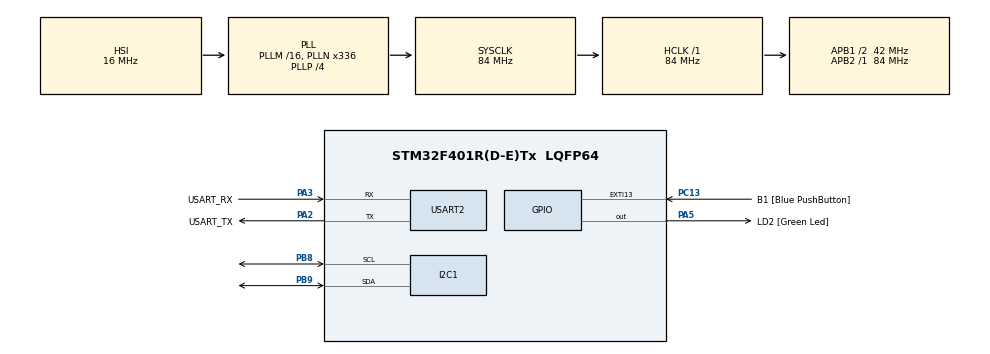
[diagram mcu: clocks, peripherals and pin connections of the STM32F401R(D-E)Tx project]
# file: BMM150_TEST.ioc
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Mcu.Family=STM32F4
Mcu.Name=STM32F401R(D-E)Tx
Mcu.Package=LQFP64
NVIC.PriorityGroup=NVIC_PRIORITYGROUP_4
PA13.GPIO_Label=TMS
PA13.Mode=Trace_Asynchronous_SW
PA13.Signal=SYS_JTMS-SWDIO
PA14.GPIO_Label=TCK
PA14.Mode=Trace_Asynchronous_SW
PA14.Signal=SYS_JTCK-SWCLK
PA2.GPIO_Label=USART_TX
PA2.GPIO_Mode=GPIO_MODE_AF_PP
PA2.GPIO_PuPd=GPIO_NOPULL
PA2.GPIO_Speed=GPIO_SPEED_FREQ_LOW
PA2.Mode=Asynchronous
PA2.Signal=USART2_TX
PA3.GPIO_Label=USART_RX
PA3.GPIO_Mode=GPIO_MODE_AF_PP
PA3.GPIO_PuPd=GPIO_NOPULL
PA3.GPIO_Speed=GPIO_SPEED_FREQ_LOW
PA3.Mode=Asynchronous
PA3.Signal=USART2_RX
PA5.GPIO_Label=LD2 [Green Led]
PA5.GPIO_Mode=GPIO_MODE_OUTPUT_PP
PA5.GPIO_PuPd=GPIO_NOPULL
PA5.GPIO_Speed=GPIO_SPEED_FREQ_LOW
PA5.Signal=GPIO_Output
PB3.GPIO_Label=SWO
PB3.Mode=Trace_Asynchronous_SW
PB3.Signal=SYS_JTDO-SWO
PB8.Mode=I2C
PB8.Signal=I2C1_SCL
PB9.Mode=I2C
PB9.Signal=I2C1_SDA
PC13-ANTI_TAMP.GPIO_Label=B1 [Blue PushButton]
PC13-ANTI_TAMP.GPIO_ModeDefaultEXTI=GPIO_MODE_IT_FALLING
PC13-ANTI_TAMP.GPIO_PuPd=GPIO_NOPULL
PC13-ANTI_TAMP.Signal=GPXTI13
PC14-OSC32_IN.Mode=LSE-External-Oscillator
PC14-OSC32_IN.Signal=RCC_OSC32_IN
PC15-OSC32_OUT.Mode=LSE-External-Oscillator
PC15-OSC32_OUT.Signal=RCC_OSC32_OUT
PH0\ -\ OSC_IN.Mode=HSE-External-Clock-Source
PH0\ -\ OSC_IN.Signal=RCC_OSC_IN
PH1\ -\ OSC_OUT.Mode=HSE-External-Clock-Source
PH1\ -\ OSC_OUT.Signal=RCC_OSC_OUT
ProjectManager.HeapSize=0x200
ProjectManager.StackSize=0x400
ProjectManager.TargetToolchain=STM32CubeIDE
RCC.48MHZClocksFreq_Value=48000000
RCC.AHBFreq_Value=84000000
RCC.APB1CLKDivider=RCC_HCLK_DIV2
RCC.APB1Freq_Value=42000000
RCC.APB1TimFreq_Value=84000000
RCC.APB2Freq_Value=84000000
RCC.APB2TimFreq_Value=84000000
RCC.CortexFreq_Value=84000000
RCC.HCLKFreq_Value=84000000
RCC.HSE_VALUE=8000000
RCC.HSI_VALUE=16000000
RCC.PLLN=336
RCC.PLLP=RCC_PLLP_DIV4
RCC.PLLQ=7
RCC.SYSCLKFreq_VALUE=84000000
RCC.SYSCLKSource=RCC_SYSCLKSOURCE_PLLCLK
RCC.VCOOutputFreq_Value=336000000
USART2.VirtualMode=VM_ASYNC
board=NUCLEO-F401RE

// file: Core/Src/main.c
/* USER CODE BEGIN Header */
/**
  ******************************************************************************
  * @file           : main.c
  * @brief          : Main program body
  ******************************************************************************
  * @attention
  *
  * Copyright (c) 2026 STMicroelectronics.
  * All rights reserved.
  *
  * This software is licensed under terms that can be found in the LICENSE file
  * in the root directory of this software component.
  * If no LICENSE file comes with this software, it is provided AS-IS.
  *
  ******************************************************************************
  */
/* USER CODE END Header */
#include "main.h"

I2C_HandleTypeDef hi2c1;

UART_HandleTypeDef huart2;

void SystemClock_Config(void);
static void MX_GPIO_Init(void);
static void MX_USART2_UART_Init(void);
static void MX_I2C1_Init(void);

/* USER CODE BEGIN 0 */

/* BMM150 */
#define BMM150_REG_POWER      0x4B
#define BMM150_REG_CHIP_ID    0x40
#define BMM150_CHIP_ID        0x32

uint8_t bmm150_address = 0;
uint8_t chip_id = 0;

HAL_StatusTypeDef scan_10;
HAL_StatusTypeDef scan_11;
HAL_StatusTypeDef scan_12;
HAL_StatusTypeDef scan_13;

HAL_StatusTypeDef power_status;
HAL_StatusTypeDef chip_id_status;

/* USER CODE END 0 */

int main(void)
{

  HAL_Init();

  SystemClock_Config();

  MX_GPIO_Init();
  MX_I2C1_Init();
  MX_USART2_UART_Init();

  /* USER CODE BEGIN 2 */

  HAL_Delay(10);

  /*
   * Check all possible BMM150 I2C addresses
   */

  scan_10 = HAL_I2C_IsDeviceReady(
      &hi2c1,
      (0x10 << 1),
      3,
      100
  );

  scan_11 = HAL_I2C_IsDeviceReady(
      &hi2c1,
      (0x11 << 1),
      3,
      100
  );

  scan_12 = HAL_I2C_IsDeviceReady(
      &hi2c1,
      (0x12 << 1),
      3,
      100
  );

  scan_13 = HAL_I2C_IsDeviceReady(
      &hi2c1,
      (0x13 << 1),
      3,
      100
  );

  /*
   * Find which address responded
   */

  if (scan_10 == HAL_OK)
  {
      bmm150_address = 0x10;
  }
  else if (scan_11 == HAL_OK)
  {
      bmm150_address = 0x11;
  }
  else if (scan_12 == HAL_OK)
  {
      bmm150_address = 0x12;
  }
  else if (scan_13 == HAL_OK)
  {
      bmm150_address = 0x13;
  }

  /*
   * If BMM150 found, enable power control
   */

  if (bmm150_address != 0)
  {
      uint8_t power_enable = 0x01;

      power_status = HAL_I2C_Mem_Write(
          &hi2c1,
          (bmm150_address << 1),
          BMM150_REG_POWER,
          I2C_MEMADD_SIZE_8BIT,
          &power_enable,
          1,
          100
      );

      HAL_Delay(10);

      /*
       * Read BMM150 Chip ID
       */

      chip_id_status = HAL_I2C_Mem_Read(
          &hi2c1,
          (bmm150_address << 1),
          BMM150_REG_CHIP_ID,
          I2C_MEMADD_SIZE_8BIT,
          &chip_id,
          1,
          100
      );
  }

  /* USER CODE END 2 */

  /* Infinite loop */
  while (1)
  {
    /* USER CODE BEGIN WHILE */

    HAL_Delay(100);

    /* USER CODE END WHILE */

  }
}

void SystemClock_Config(void)
{
  RCC_OscInitTypeDef RCC_OscInitStruct = {0};
  RCC_ClkInitTypeDef RCC_ClkInitStruct = {0};

  /** Configure the main internal regulator output voltage
  */
  __HAL_RCC_PWR_CLK_ENABLE();
  __HAL_PWR_VOLTAGESCALING_CONFIG(PWR_REGULATOR_VOLTAGE_SCALE2);

  /** Initializes the RCC Oscillators according to the specified parameters
  * in the RCC_OscInitTypeDef structure.
  */
  RCC_OscInitStruct.OscillatorType = RCC_OSCILLATORTYPE_HSI;
  RCC_OscInitStruct.HSIState = RCC_HSI_ON;
  RCC_OscInitStruct.HSICalibrationValue = RCC_HSICALIBRATION_DEFAULT;
  RCC_OscInitStruct.PLL.PLLState = RCC_PLL_ON;
  RCC_OscInitStruct.PLL.PLLSource = RCC_PLLSOURCE_HSI;
  RCC_OscInitStruct.PLL.PLLM = 16;
  RCC_OscInitStruct.PLL.PLLN = 336;
  RCC_OscInitStruct.PLL.PLLP = RCC_PLLP_DIV4;
  RCC_OscInitStruct.PLL.PLLQ = 7;
  if (HAL_RCC_OscConfig(&RCC_OscInitStruct) != HAL_OK)
  {
    Error_Handler();
  }

  /** Initializes the CPU, AHB and APB buses clocks
  */
  RCC_ClkInitStruct.ClockType = RCC_CLOCKTYPE_HCLK|RCC_CLOCKTYPE_SYSCLK
                              |RCC_CLOCKTYPE_PCLK1|RCC_CLOCKTYPE_PCLK2;
  RCC_ClkInitStruct.SYSCLKSource = RCC_SYSCLKSOURCE_PLLCLK;
  RCC_ClkInitStruct.AHBCLKDivider = RCC_SYSCLK_DIV1;
  RCC_ClkInitStruct.APB1CLKDivider = RCC_HCLK_DIV2;
  RCC_ClkInitStruct.APB2CLKDivider = RCC_HCLK_DIV1;

  if (HAL_RCC_ClockConfig(&RCC_ClkInitStruct, FLASH_LATENCY_2) != HAL_OK)
  {
    Error_Handler();
  }
}

static void MX_I2C1_Init(void)
{

  hi2c1.Instance = I2C1;
  hi2c1.Init.ClockSpeed = 100000;
  hi2c1.Init.DutyCycle = I2C_DUTYCYCLE_2;
  hi2c1.Init.OwnAddress1 = 0;
  hi2c1.Init.AddressingMode = I2C_ADDRESSINGMODE_7BIT;
  hi2c1.Init.DualAddressMode = I2C_DUALADDRESS_DISABLE;
  hi2c1.Init.OwnAddress2 = 0;
  hi2c1.Init.GeneralCallMode = I2C_GENERALCALL_DISABLE;
  hi2c1.Init.NoStretchMode = I2C_NOSTRETCH_DISABLE;
  if (HAL_I2C_Init(&hi2c1) != HAL_OK)
  {
    Error_Handler();
  }

}

static void MX_USART2_UART_Init(void)
{

  huart2.Instance = USART2;
  huart2.Init.BaudRate = 115200;
  huart2.Init.WordLength = UART_WORDLENGTH_8B;
  huart2.Init.StopBits = UART_STOPBITS_1;
  huart2.Init.Parity = UART_PARITY_NONE;
  huart2.Init.Mode = UART_MODE_TX_RX;
  huart2.Init.HwFlowCtl = UART_HWCONTROL_NONE;
  huart2.Init.OverSampling = UART_OVERSAMPLING_16;
  if (HAL_UART_Init(&huart2) != HAL_OK)
  {
    Error_Handler();
  }

}

static void MX_GPIO_Init(void)
{
  GPIO_InitTypeDef GPIO_InitStruct = {0};

  /* GPIO Ports Clock Enable */
  __HAL_RCC_GPIOC_CLK_ENABLE();
  __HAL_RCC_GPIOH_CLK_ENABLE();
  __HAL_RCC_GPIOA_CLK_ENABLE();
  __HAL_RCC_GPIOB_CLK_ENABLE();

  /*Configure GPIO pin Output Level */
  HAL_GPIO_WritePin(LD2_GPIO_Port, LD2_Pin, GPIO_PIN_RESET);

  /*Configure GPIO pin : B1_Pin */
  GPIO_InitStruct.Pin = B1_Pin;
  GPIO_InitStruct.Mode = GPIO_MODE_IT_FALLING;
  GPIO_InitStruct.Pull = GPIO_NOPULL;
  HAL_GPIO_Init(B1_GPIO_Port, &GPIO_InitStruct);

  /*Configure GPIO pin : LD2_Pin */
  GPIO_InitStruct.Pin = LD2_Pin;
  GPIO_InitStruct.Mode = GPIO_MODE_OUTPUT_PP;
  GPIO_InitStruct.Pull = GPIO_NOPULL;
  GPIO_InitStruct.Speed = GPIO_SPEED_FREQ_LOW;
  HAL_GPIO_Init(LD2_GPIO_Port, &GPIO_InitStruct);

}

void Error_Handler(void)
{
  __disable_irq();
  while (1)
  {
  }
}
